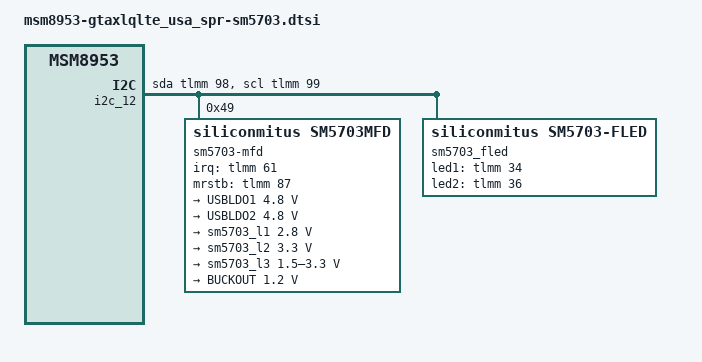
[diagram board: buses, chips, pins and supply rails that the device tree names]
/* Copyright (c) 2016, The Linux Foundation. All rights reserved. * * This program is free software; you can redistribute it and/or modify * it under the terms of the GNU General Public License version 2 and * only version 2 as published by the Free Software Foundation. * * This program is distributed in the hope that it will be useful, * but WITHOUT ANY WARRANTY; without even the implied warranty of * MERCHANTABILITY or FITNESS FOR A PARTICULAR PURPOSE.  See the * GNU General Public License for more details. */&soc {	i2c_12: i2c@12 {		cell-index = <12>;		compatible = "i2c-gpio";		gpios = <&tlmm 98 0 /* sda */			&tlmm 99 0	/* scl */			>;		i2c-gpio,delay-us = <2>;		#address-cells = <1>;		#size-cells = <0>;		sm5703-mfd@49 {			compatible = "siliconmitus,sm5703mfd";			reg = <0x49>;			interrupt-parent = <&tlmm>;			sm5703,irq-gpio = <&tlmm 61 0x00>;			pinctrl-names = "default";			pinctrl-0 = <&sm5703_mfd_i2c_default &sm5703_mfd_interrupt_default &sm5703_rst_default &sm5703_chg_en_default>;			sm5703,mrstb-gpio = <&tlmm 87 0x00>;			sm5703_charger {				compatible = "siliconmitus,sm5703-charger";				chg_autostop = <1>;				chg_autoset = <1>;				chg_aiclen = <1>;				chg_aiclth = <4300>;				fg_vol_val = <4350>;				fg_soc_val = <95>;				fg_curr_avr_val = <150>;			};			sm5703_usbldo1 {				compatible = "siliconmitus,sm5703-usbldo1";				regulator-name = "USBLDO1"; /* change name by yourself */				regulator-min-microvolt = <4800000>;				regulator-max-microvolt = <4800000>; /* max == min then apply_uV = 1 */				/* regulator-microvolt-offset = < >; optional*/				/* regulator-boot-on; optional, exist = enabled */				regulator-always-on;				/* regulator-ramp-delay = <100>; optional*/			};			sm5703_usbldo2 {				compatible = "siliconmitus,sm5703-usbldo2";				regulator-name = "USBLDO2"; /* change name by yourself */				regulator-min-microvolt = <4800000>;				regulator-max-microvolt = <4800000>; /* max == min then apply_uV = 1 */				/* regulator-microvolt-offset = < >; optional*/				/* regulator-boot-on; optional, exist = enabled */				/* regulator-always-on; optional, exist = enabled */				/* regulator-ramp-delay = <100>; optional*/			};			sm5703_l1: sm5703_ldo1 {				compatible = "siliconmitus,sm5703-ldo1";				regulator-name = "LDOOUT1"; /* change name by yourself */				regulator-min-microvolt = <2800000>;				regulator-max-microvolt = <2800000>; /* max == min then apply_uV = 1 */				/* regulator-microvolt-offset = < >; optional*/				/* regulator-boot-on; optional, exist = enabled */				/* regulator-always-on; optional, exist = enabled */				/* regulator-ramp-delay = <100>; optional*/			};			sm5703_l2: sm5703_ldo2 {				compatible = "siliconmitus,sm5703-ldo2";				regulator-name = "LDOOUT2"; /* change name by yourself */				regulator-min-microvolt = <3300000>;				regulator-max-microvolt = <3300000>; /* max == min then apply_uV = 1 */				/* regulator-microvolt-offset = < >; optional*/				/* regulator-boot-on; optional, exist = enabled */				/* regulator-always-on; optional, exist = enabled */				/* regulator-ramp-delay = <100>; optional*/			};			sm5703_l3: sm5703_ldo3 {				compatible = "siliconmitus,sm5703-ldo3";				regulator-name = "LDOOUT3"; /* change name by yourself */				regulator-min-microvolt = <1500000>;				regulator-max-microvolt = <3300000>; /* max == min then apply_uV = 1 */				/* regulator-microvolt-offset = < >; optional*/				/* regulator-boot-on; optional, exist = enabled */				/* regulator-always-on; optional, exist = enabled */				/* regulator-ramp-delay = <100>; optional*/			};			sm5703_buck {				compatible = "siliconmitus,sm5703-buck";				regulator-name = "BUCKOUT"; /* change name by yourself */				regulator-min-microvolt = <1200000>;				regulator-max-microvolt = <1200000>; /* max == min then apply_uV = 1 */				/* regulator-microvolt-offset = < >; optional*/				/* regulator-boot-on; optional, exist = enabled */				/* regulator-always-on; optional, exist = enabled */				/* regulator-ramp-delay = <100>; optional*/			};		};		sm5703_fled {			compatible = "siliconmitus,sm5703-fled";			enable = <1 1>;			id = <0>;			flash-mode-current-mA = <1000>;			torch-mode-current-mA = <140>;			used-gpio-control = <1>;			sm5703,led1-gpio  = <&tlmm 34 0x00>;			sm5703,led2-gpio  = <&tlmm 36 0x00>;			pinctrl-names = "fled_default","fled_sleep";			pinctrl-0 = <&cam_flash_active>;			pinctrl-1 = <&cam_flash_sleep>;		};	};
};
